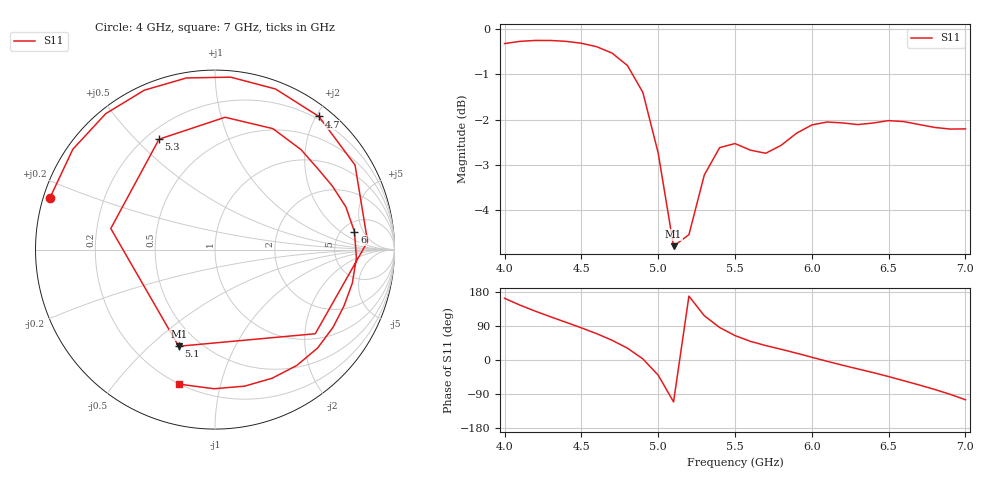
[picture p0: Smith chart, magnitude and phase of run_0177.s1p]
! Touchstone file exported from HFSS 2024.2.0
!  File:  C:/Users/wsak9/Desktop/Sim Fast/Widenad Patch/WP_AI_V1_sweep.aedt
!  Generated:  10:20:05 PM Oct 13, 2026
!  Design:  A1_model
!  Project:  WP_AI_V1_sweep
!  Setup:  Setup1
!  Solution:  Sweep
! Variables:
!  Air_gap = 1.53mm
!  Curve_Amp1 = 3.87
!  Curve_len1 = 1
!  Curve_pos = 10.055mm
!  Extra = 2.75mm
!  H_sub = 0.79mm
!  L_Patch = 16.11mm
!  L_Patch1 = 16.12mm
!  Sx = 4.03mm
!  Sy = 4.63mm
!  WS = 0.45mm
!  W_Patch = 11.33mm
!  W_Patch1 = 13.37mm
!Data is not renormalized
# GHz S MA
! Terminal data exported
! Port[1] = 1
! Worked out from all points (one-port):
!   31 points, 4 GHz to 7 GHz, reference per port
!   lowest |S11| = -4.8 dB at 5.1 GHz (marker M1), VSWR 3.71
!   |S11| at or under -10 dB: nowhere
!   S11 on the Smith chart (normalised r, x): 4 GHz: 0.02, +0.15; 4.7 GHz: 0.16, +2.04; 5.1 GHz: 0.39, -0.62; 5.3 GHz: 0.25, +0.59; 6 GHz: 6.49, +3.33; 7 GHz: 0.20, -0.75
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4  0.964 162.7
4.1  0.9695 144.8
4.2  0.9717 128.8
4.3  0.9716 113.9
4.4  0.9695 99.4
4.5  0.9648 84.8
4.6  0.9562 69.4
4.7  0.9408 52.0
4.8  0.9114 31.1
4.9  0.8513 3.0
5  0.7293 -40.0
5.1  0.5752 -110.6
5.2  0.5924 168.6
5.3  0.6895 116.9
5.4  0.7395 85.7
5.5  0.7472 64.4
5.6  0.7347 49.3
5.9  0.767 18.0
6  0.7834 7.3
6.1  0.7893 -3.4
6.3  0.7842 -23.6
6.4  0.7874 -33.3
6.5  0.7921 -43.8
6.6  0.7901 -54.8
6.7  0.7842 -66.0
6.8  0.7785 -77.7
6.9  0.7753 -90.4
7  0.7756 -104.9
